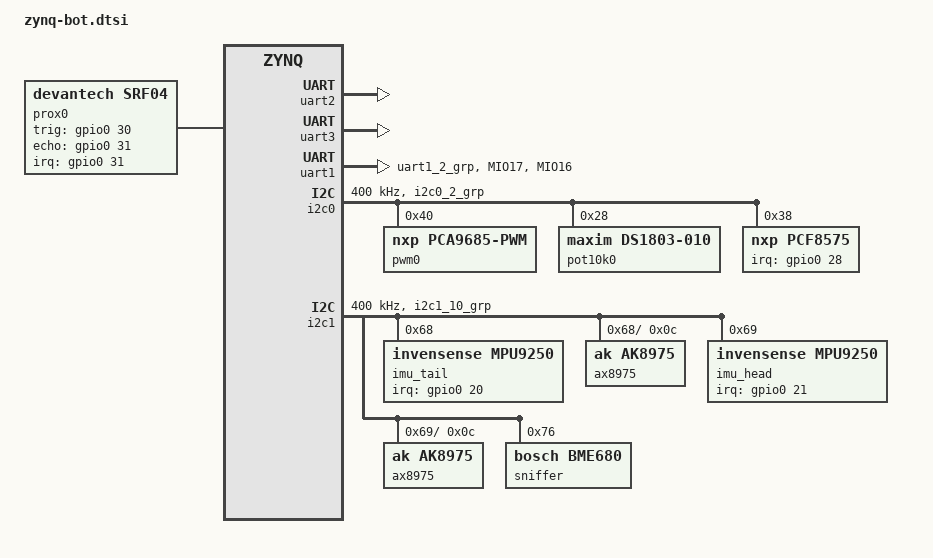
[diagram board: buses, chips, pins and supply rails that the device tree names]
/**
 * Copyright (c) 2020 Fantaske Tech LLC
 *
 * This program is free software; you can redistribute it and/or modify it
 * under the terms of the GNU General Public License version 2 as published by
 * the Free Software Foundation.
 */

/ {
	aliases {
		serial0 = &uart1;
		serial1 = &uart0;
		i2c0 = &i2c0;
		i2c1 = &i2c1;
	};

	chosen {
        bootargs = "console=ttyPS0,115200n8 earlyprintk";
        linux,stdout-path = &uart1;
        stdout-path = &uart1;
    };

	prox0: srf04 {
		compatible = "devantech,srf04";
		status = "okay";
        interrupt-parent = <&gpio0>;
        interrupts = <31 1>;
		trig-gpios = <&gpio0 30 0>;
		echo-gpios = <&gpio0 31 0>;
	};
};

&amba {
	uart2: uartlite@42000000 {
    	status = "okay";
		compatible = "xlnx,xps-uartlite-1.00.a";
		reg = <0x42000000 0x1000>;
		//int # found in xparameters.h = 61, subract 32 from that number
		interrupts = <0 29 4>;
		interrupt-parent = <&intc>;
		clock = <50000000>;
	};
	uart3: uartlite@42001000 {
    	status = "okay";
        compatible = "xlnx,xps-uartlite-1.00.a";
        reg = <0x42001000 0x1000>;
        interrupts = <0 30 4>;
        interrupt-parent = <&intc>;
        clock = <50000000>;
    };

};
/*
&spi0 {
	dac: dac@2 {
		compatible = "ti,dac7311";
		reg = <2>;
		spi-max-frequency = <1000000>;
	};
};
*/
&uart1 {
	u-boot,dm-pre-reloc;
    status = "okay";
    pinctrl-names = "default";
    pinctrl-0 = <&pinctrl_uart1_default>;
};

&i2c0{
	status = "okay";
    clock-frequency = <400000>;
    pinctrl-names = "default";
    pinctrl-0 = <&pinctrl_i2c0_default>;

	pwm0: pca@40 {
		compatible = "nxp,pca9685-pwm";
		#pwm-cells = <2>;
		reg = <0x40>;
		status = "okay";
	};

	pot10k0: ds1803@28{
		reg = <0x28>;
		compatible = "maxim,ds1803-010";
	};

	pcf8575: gpio@38 {
        compatible = "nxp,pcf8575";
        reg = <0x38>;
        interrupt-parent = <&gpio0>;
        interrupts = <28 2>;
        gpio-controller;
        #gpio-cells = <2>;
        interrupt-controller;
        #interrupt-cells = <2>;
    };

};

&i2c1{
	status = "okay";
	clock-frequency = <400000>;
    pinctrl-names = "default";
    pinctrl-0 = <&pinctrl_i2c1_default>;

	imu_tail: mpu9250@68 {
        compatible = "invensense,mpu9250";
        reg = <0x68>;
        interrupt-parent = <&gpio0>;
        interrupts = <20 2>;
        i2c-gate {
            #address-cells = <1>;
            #size-cells = <0>;
            ax8975@c {
                compatible = "ak,ak8975";
                reg = <0x0c>;
            };
        };
    };

	imu_head: mpu9250@69 {
        compatible = "invensense,mpu9250";
        reg = <0x69>;
        interrupt-parent = <&gpio0>;
        interrupts = <21 2>;
        i2c-gate {
            #address-cells = <1>;
            #size-cells = <0>;
            ax8975@c {
                compatible = "ak,ak8975";
                reg = <0x0c>;
            };
        };
    };

	sniffer: bme680@76 {
		compatible = "bosch,bme680";
		reg = <0x76>;
		status = "okay";
	};


};

&gpio0 {
    pinctrl-names = "default";
    pinctrl-0 = <&pinctrl_gpio0_default>;

};

&pinctrl0{
	pinctrl_i2c0_default: i2c0-default {
		mux {
			groups = "i2c0_2_grp";
			function = "i2c0";
		};

		conf {
			groups = "i2c0_2_grp";
			bias-pull-up;
			slew-rate = <0>;
			io-standard = <1>;
		};
	};

	pinctrl_i2c1_default: i2c1-default {
		mux {
			groups = "i2c1_10_grp";
			function = "i2c1";
		};

		conf {
			groups = "i2c1_10_grp";
			bias-pull-up;
			slew-rate = <0>;
			io-standard = <1>;
		};
	};

    pinctrl_uart1_default: uart1-default {
        mux {
            groups = "uart1_2_grp";
            function = "uart1";
        };

        conf {
            groups = "uart1_2_grp";
            slew-rate = <0>;
            io-standard = <1>;
        };

        conf-rx {
            pins = "MIO17";
            bias-high-impedance;
        };

        conf-tx {
            pins = "MIO16";
            bias-disable;
        };
    };

    pinctrl_gpio0_default: gpio0-default {
        mux {
            function = "gpio0";
            groups = "gpio0_20_grp", "gpio0_21_grp", "gpio0_22_grp",
                 "gpio0_23_grp", "gpio0_24_grp", "gpio0_25_grp",
                 "gpio0_26_grp", "gpio0_27_grp";
        };

        conf {
            groups = "gpio0_20_grp", "gpio0_21_grp", "gpio0_22_grp",
                 "gpio0_23_grp", "gpio0_24_grp", "gpio0_25_grp",
                 "gpio0_26_grp", "gpio0_27_grp";
            slew-rate = <0>;
            io-standard = <1>;
        };
/*
        conf-pull-up {
            pins = "MIO9", "MIO10", "MIO11", "MIO12", "MIO13", "MIO14";
            bias-pull-up;
        };
*/
        conf-pull-none {
            pins = "MIO20", "MIO21", "MIO22", "MIO23", "MIO24", "MIO25", "MIO26", "MIO27";
            bias-disable;
        };
    };
};
